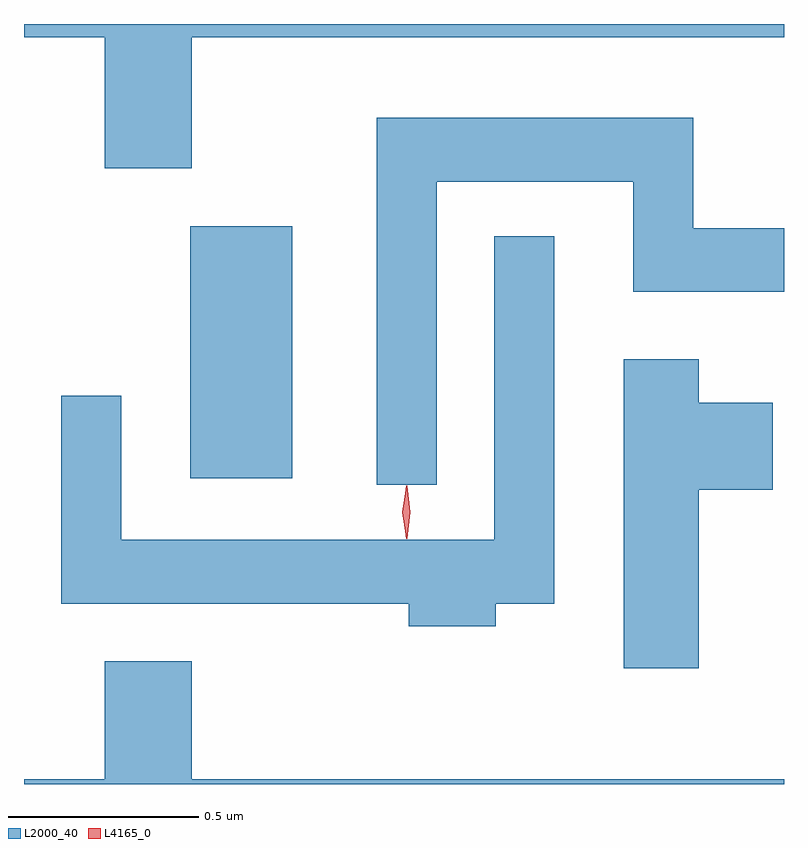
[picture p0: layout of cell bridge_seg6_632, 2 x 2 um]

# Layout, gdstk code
import gdstk
lib = gdstk.Library(unit=1e-6, precision=1e-09)
def R(c, l, rs):  # rectangles x0, y0, x1, y1
    for r in rs: c.add(gdstk.rectangle(r[:2], r[2:], *l))
def P(c, l, *ps):  # polygons
    for p in ps: c.add(gdstk.Polygon(p, *l))
L2000_40 = (2000, 40)
L4165_0 = (4165, 0)

bridge_seg6_632 = lib.new_cell('bridge_seg6_632')
R(bridge_seg6_632, L2000_40, [(539.756,1624.356,540.024,1625.019)])
P(bridge_seg6_632, L2000_40, [(539.759,1625.516),(541.318,1625.516),(541.318,1625.551),(539.318,1625.551),(539.318,1625.516),(539.531,1625.516),(539.531,1625.171),(539.759,1625.171)],
  [(540.404,1625.136),(540.921,1625.136),(540.921,1624.846),(541.318,1624.846),(541.318,1625.014),(541.079,1625.014),(541.079,1625.304),(540.246,1625.304),(540.246,1624.338),(540.404,1624.338)],
  [(540.559,1624.026),(540.714,1624.026),(540.714,1624.993),(540.556,1624.993),(540.556,1624.194),(539.574,1624.194),(539.574,1624.573),(539.416,1624.573),(539.416,1624.026),(540.331,1624.026),(540.331,1623.966),(540.559,1623.966)],
  [(541.094,1624.326),(541.289,1624.326),(541.289,1624.554),(541.094,1624.554),(541.094,1624.669),(540.896,1624.669),(540.896,1623.856),(541.094,1623.856)],
  [(541.318,1623.564),(539.759,1623.564),(539.759,1623.874),(539.531,1623.874),(539.531,1623.564),(539.318,1623.564),(539.318,1623.551),(541.318,1623.551)])
P(bridge_seg6_632, L4165_0, [(540.324,1624.197),(540.315,1624.266),(540.324,1624.336),(540.325,1624.336),(540.326,1624.336),(540.335,1624.266),(540.326,1624.197),(540.325,1624.197)],
  [(540.324,1624.199),(540.324,1624.2),(540.314,1624.266),(540.324,1624.332),(540.324,1624.333),(540.325,1624.332),(540.334,1624.266),(540.325,1624.2)])

lib.write_gds('bridge_seg6_632.gds')
